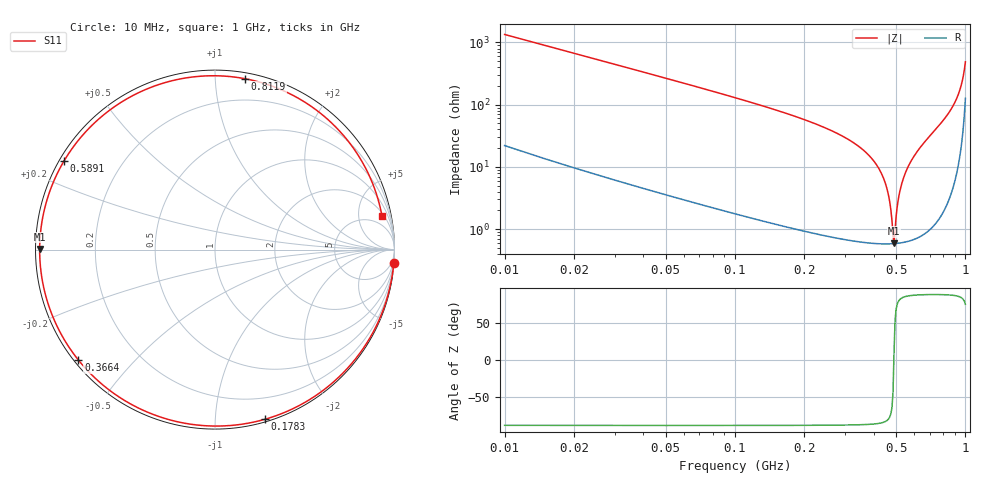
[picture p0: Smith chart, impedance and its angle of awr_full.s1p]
! AWR Design Environment (17415) Wed Nov  6 14:33:17 2024
! Document = 'MicrostripCoaxModel'
! nPorts: 1, nXvals: 201
# MHz S DB R 50
!Freq DBS11 AngS11
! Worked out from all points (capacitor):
!   201 points, 10 MHz to 1 GHz, reference 50 ohm
!   read as one part to ground: C = 11.8 pF near 14.95 MHz
!   lowest |Z| = 594 mohm at 490.1 MHz (marker M1)
!   series resonance near 489.4 MHz, so ESL is about 8.9 nH
!   S11 on the Smith chart (normalised r, x): 10 MHz: 0, -27; 178.3 MHz: 0.02, -1.34; 366.4 MHz: 0.01, -0.35; 589.1 MHz: 0.01, +0.27; 811.9 MHz: 0.04, +1.19; 1 GHz: 2.53, +9.45
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10  -0.01 -4.3
39.7  -0.03 -16.9
69.4  -0.06 -29.4
104.05  -0.08 -43.8
133.75  -0.10 -55.9
178.3  -0.13 -73.6
217.9  -0.15 -88.8
257.5  -0.16 -103.4
307  -0.18 -121.0
366.4  -0.19 -141.0
381.25  -0.19 -145.9
435.7  -0.20 -163.3
490.15  -0.20 179.8
505  -0.20 175.2
544.6  -0.21 163.2
589.15  -0.22 149.7
628.75  -0.22 137.8
693.1  -0.24 118.1
722.8  -0.25 108.8
752.5  -0.26 99.4
782.2  -0.28 89.8
811.9  -0.29 80.0
846.55  -0.32 68.2
876.25  -0.34 57.8
905.95  -0.36 47.1
940.6  -0.39 34.3
970.3  -0.42 22.9
1000  -0.45 11.3
